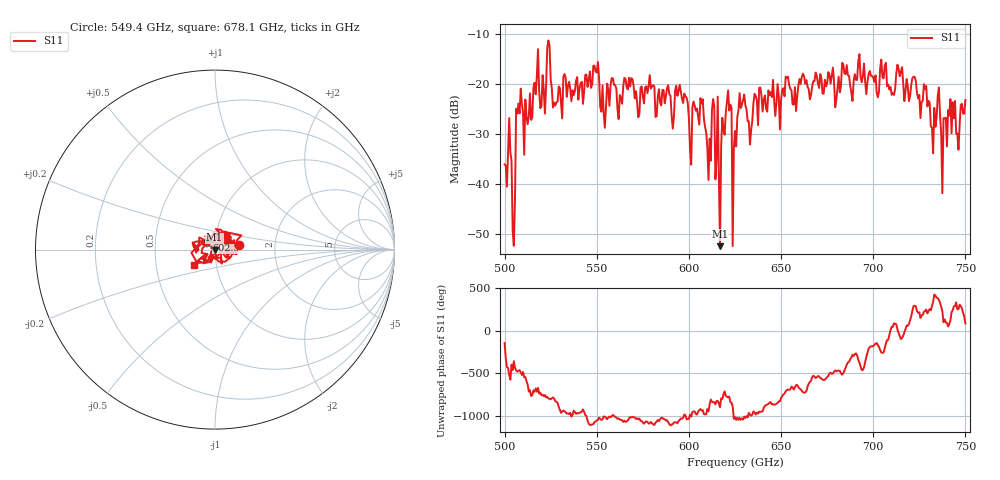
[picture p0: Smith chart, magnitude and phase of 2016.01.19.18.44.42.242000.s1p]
!Created with skrf (http://scikit-rf.org).
# GHz S RI R 50.0
!freq ReS11 ImS11
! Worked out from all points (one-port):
!   401 points, 500 GHz to 750 GHz, reference 50 ohm
!   lowest |S11| = -52.5 dB at 616.9 GHz (marker M1), VSWR 1.00, Z = 49.8 + j0.00416 ohm
!   |S11| at or under -10 dB: start of sweep to end of sweep
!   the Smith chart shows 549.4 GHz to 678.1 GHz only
!   S11 on the Smith chart (normalised r, x): 549.4 GHz: 1.30, +0.06; 602.5 GHz: 0.91, +0.09; 678.1 GHz: 0.78, -0.14
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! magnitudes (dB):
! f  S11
! 500 GHz  -36.1
! 502.5 GHz  -26.8
! 504.4 GHz  -49.4
! 507.5 GHz  -23.9
! 511.9 GHz  -26.5
! 516.9 GHz  -22.0
! 520.6 GHz  -18.2
! 523.8 GHz  -11.2
! 526.9 GHz  -23.7
! 531.2 GHz  -26.9
! 549.4 GHz  -17.5
! 553.1 GHz  -20.2
! 558.8 GHz  -18.8
! 562.5 GHz  -22.2
! 593.8 GHz  -22.3
! 602.5 GHz  -23.4
! 616.9 GHz  -52.5
! 621.9 GHz  -25.3
! 625 GHz  -29.4
! 628.8 GHz  -24.1
! 633.1 GHz  -32.1
! 639.4 GHz  -22.3
! 656.2 GHz  -24.0
! 678.1 GHz  -16.7
! 687.5 GHz  -20.3
! 718.8 GHz  -20.4
! 738.8 GHz  -26.8
! 750 GHz  -23.2
